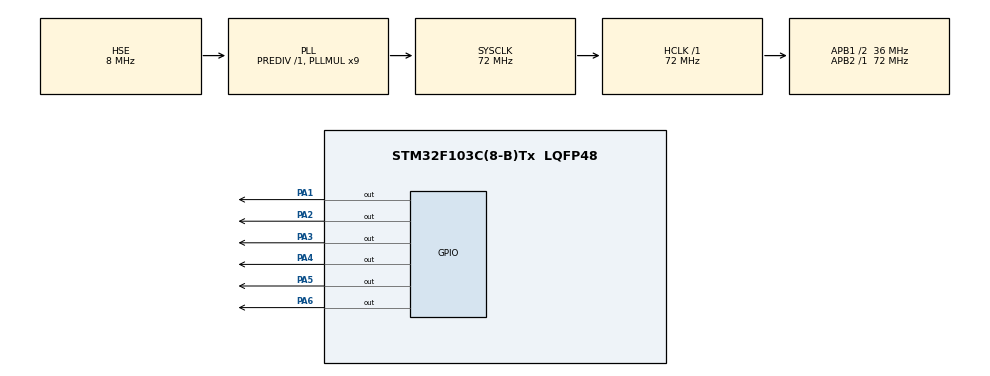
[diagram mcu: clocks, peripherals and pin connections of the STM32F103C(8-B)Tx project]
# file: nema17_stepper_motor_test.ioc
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Mcu.Family=STM32F1
Mcu.Name=STM32F103C(8-B)Tx
Mcu.Package=LQFP48
NVIC.PriorityGroup=NVIC_PRIORITYGROUP_4
PA1.Signal=GPIO_Output
PA13.Mode=Serial_Wire
PA13.Signal=SYS_JTMS-SWDIO
PA14.Mode=Serial_Wire
PA14.Signal=SYS_JTCK-SWCLK
PA2.Signal=GPIO_Output
PA3.Signal=GPIO_Output
PA4.Signal=GPIO_Output
PA5.Signal=GPIO_Output
PA6.Signal=GPIO_Output
PD0-OSC_IN.Mode=HSE-External-Oscillator
PD0-OSC_IN.Signal=RCC_OSC_IN
PD1-OSC_OUT.Mode=HSE-External-Oscillator
PD1-OSC_OUT.Signal=RCC_OSC_OUT
ProjectManager.HeapSize=0x200
ProjectManager.StackSize=0x400
ProjectManager.TargetToolchain=STM32CubeIDE
RCC.AHBFreq_Value=72000000
RCC.APB1CLKDivider=RCC_HCLK_DIV2
RCC.APB1Freq_Value=36000000
RCC.APB1TimFreq_Value=72000000
RCC.APB2Freq_Value=72000000
RCC.APB2TimFreq_Value=72000000
RCC.HCLKFreq_Value=72000000
RCC.PLLMUL=RCC_PLL_MUL9
RCC.PLLSourceVirtual=RCC_PLLSOURCE_HSE
RCC.SYSCLKFreq_VALUE=72000000
RCC.SYSCLKSource=RCC_SYSCLKSOURCE_PLLCLK
RCC.USBFreq_Value=72000000
TIM2.Prescaler=71
VP_TIM2_VS_ClockSourceINT.Mode=Internal
board=custom

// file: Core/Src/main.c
/* USER CODE BEGIN Header */
/**
  ******************************************************************************
  * @file           : main.c
  * @brief          : Main program body
  ******************************************************************************
  * @attention
  *
  * Copyright (c) 2024 STMicroelectronics.
  * All rights reserved.
  *
  * This software is licensed under terms that can be found in the LICENSE file
  * in the root directory of this software component.
  * If no LICENSE file comes with this software, it is provided AS-IS.
  *
  ******************************************************************************
  */
/* USER CODE END Header */
#include "main.h"

TIM_HandleTypeDef htim2;

void SystemClock_Config(void);
static void MX_GPIO_Init(void);
static void MX_TIM2_Init(void);

/* USER CODE BEGIN 0 */
#define DIR_PIN GPIO_PIN_1
#define DIR_PORT GPIOA
#define STEP_PIN GPIO_PIN_2
#define STEP_PORT GPIOA

void microDelay (uint16_t delay)
{
  __HAL_TIM_SET_COUNTER(&htim2, 0);
  while (__HAL_TIM_GET_COUNTER(&htim2) < delay);
}

void step (int steps, uint8_t direction, uint16_t delay)
{
  int x;
  if (direction == 0)
    HAL_GPIO_WritePin(DIR_PORT, DIR_PIN, GPIO_PIN_SET);
  else
    HAL_GPIO_WritePin(DIR_PORT, DIR_PIN, GPIO_PIN_RESET);
  for(x=0; x<steps; x=x+1)
  {
    HAL_GPIO_WritePin(STEP_PORT, STEP_PIN, GPIO_PIN_SET);
    microDelay(delay);
    HAL_GPIO_WritePin(STEP_PORT, STEP_PIN, GPIO_PIN_RESET);
    microDelay(delay);
  }
}
/* USER CODE END 0 */

int main(void)
{

  /* MCU Configuration--------------------------------------------------------*/

  /* Reset of all peripherals, Initializes the Flash interface and the Systick. */
  HAL_Init();

  /* Configure the system clock */
  SystemClock_Config();

  /* Initialize all configured peripherals */
  MX_GPIO_Init();
  MX_TIM2_Init();
  /* USER CODE BEGIN 2 */
  HAL_TIM_Base_Start(&htim2);
  /* USER CODE END 2 */

  /* Infinite loop */
  /* USER CODE BEGIN WHILE */
  while (1)
  {
		int y;
		for(y=0; y<8; y=y+1) // 8 times
		{
		  step(100, 0, 800); // 25 steps (45 degrees) CCV
		  HAL_Delay(100);
		  step(50, 1, 800); // 25 steps (45 degrees) CCV
		  HAL_Delay(100);
		}
		step(1000, 0, 800); // 800 steps (4 revolutions ) CV
		HAL_Delay(1000);
    /* USER CODE END WHILE */

  }
}

void SystemClock_Config(void)
{
  RCC_OscInitTypeDef RCC_OscInitStruct = {0};
  RCC_ClkInitTypeDef RCC_ClkInitStruct = {0};

  /** Initializes the RCC Oscillators according to the specified parameters
  * in the RCC_OscInitTypeDef structure.
  */
  RCC_OscInitStruct.OscillatorType = RCC_OSCILLATORTYPE_HSE;
  RCC_OscInitStruct.HSEState = RCC_HSE_ON;
  RCC_OscInitStruct.HSEPredivValue = RCC_HSE_PREDIV_DIV1;
  RCC_OscInitStruct.HSIState = RCC_HSI_ON;
  RCC_OscInitStruct.PLL.PLLState = RCC_PLL_ON;
  RCC_OscInitStruct.PLL.PLLSource = RCC_PLLSOURCE_HSE;
  RCC_OscInitStruct.PLL.PLLMUL = RCC_PLL_MUL9;
  if (HAL_RCC_OscConfig(&RCC_OscInitStruct) != HAL_OK)
  {
    Error_Handler();
  }

  /** Initializes the CPU, AHB and APB buses clocks
  */
  RCC_ClkInitStruct.ClockType = RCC_CLOCKTYPE_HCLK|RCC_CLOCKTYPE_SYSCLK
                              |RCC_CLOCKTYPE_PCLK1|RCC_CLOCKTYPE_PCLK2;
  RCC_ClkInitStruct.SYSCLKSource = RCC_SYSCLKSOURCE_PLLCLK;
  RCC_ClkInitStruct.AHBCLKDivider = RCC_SYSCLK_DIV1;
  RCC_ClkInitStruct.APB1CLKDivider = RCC_HCLK_DIV2;
  RCC_ClkInitStruct.APB2CLKDivider = RCC_HCLK_DIV1;

  if (HAL_RCC_ClockConfig(&RCC_ClkInitStruct, FLASH_LATENCY_2) != HAL_OK)
  {
    Error_Handler();
  }
}

static void MX_TIM2_Init(void)
{

  TIM_ClockConfigTypeDef sClockSourceConfig = {0};
  TIM_MasterConfigTypeDef sMasterConfig = {0};

  htim2.Instance = TIM2;
  htim2.Init.Prescaler = 71;
  htim2.Init.CounterMode = TIM_COUNTERMODE_UP;
  htim2.Init.Period = 65535;
  htim2.Init.ClockDivision = TIM_CLOCKDIVISION_DIV1;
  htim2.Init.AutoReloadPreload = TIM_AUTORELOAD_PRELOAD_DISABLE;
  if (HAL_TIM_Base_Init(&htim2) != HAL_OK)
  {
    Error_Handler();
  }
  sClockSourceConfig.ClockSource = TIM_CLOCKSOURCE_INTERNAL;
  if (HAL_TIM_ConfigClockSource(&htim2, &sClockSourceConfig) != HAL_OK)
  {
    Error_Handler();
  }
  sMasterConfig.MasterOutputTrigger = TIM_TRGO_RESET;
  sMasterConfig.MasterSlaveMode = TIM_MASTERSLAVEMODE_DISABLE;
  if (HAL_TIMEx_MasterConfigSynchronization(&htim2, &sMasterConfig) != HAL_OK)
  {
    Error_Handler();
  }

}

static void MX_GPIO_Init(void)
{
  GPIO_InitTypeDef GPIO_InitStruct = {0};

  /* GPIO Ports Clock Enable */
  __HAL_RCC_GPIOD_CLK_ENABLE();
  __HAL_RCC_GPIOA_CLK_ENABLE();

  /*Configure GPIO pin Output Level */
  HAL_GPIO_WritePin(GPIOA, GPIO_PIN_1|GPIO_PIN_2|GPIO_PIN_3|GPIO_PIN_4
                          |GPIO_PIN_5|GPIO_PIN_6, GPIO_PIN_RESET);

  /*Configure GPIO pins : PA1 PA2 PA3 PA4
                           PA5 PA6 */
  GPIO_InitStruct.Pin = GPIO_PIN_1|GPIO_PIN_2|GPIO_PIN_3|GPIO_PIN_4
                          |GPIO_PIN_5|GPIO_PIN_6;
  GPIO_InitStruct.Mode = GPIO_MODE_OUTPUT_PP;
  GPIO_InitStruct.Pull = GPIO_NOPULL;
  GPIO_InitStruct.Speed = GPIO_SPEED_FREQ_LOW;
  HAL_GPIO_Init(GPIOA, &GPIO_InitStruct);

}

void Error_Handler(void)
{
  __disable_irq();
  while (1)
  {
  }
}
